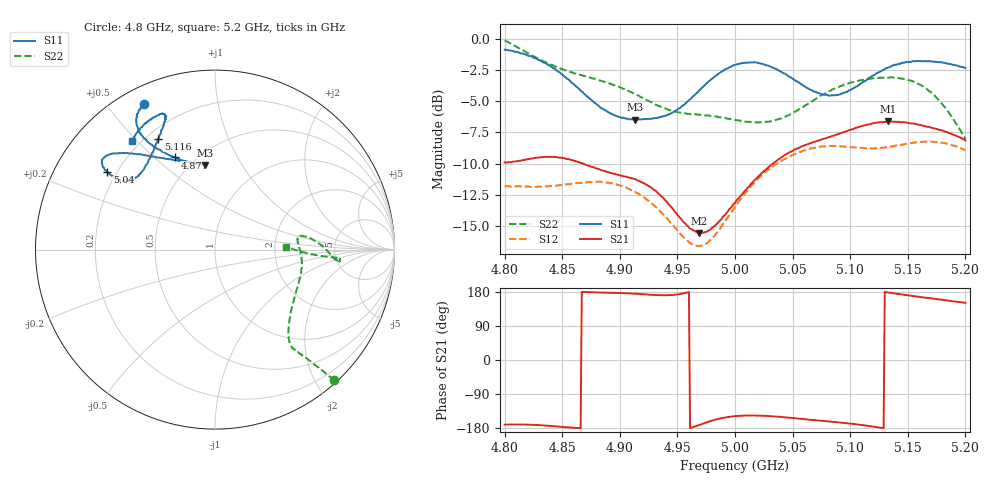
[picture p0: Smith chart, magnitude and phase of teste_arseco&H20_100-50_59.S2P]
! Network Analyzer HP8722D
! Hewlett-Packard
! Data name: Linha & Wilkinson
! Saver's name: Rodrigo Anjos
! Comments: Teste da utilização de aquisição
! continua pelo VNA HP8722D
! Time and date: 6/5/2025 13:03
!  Frequency  S11  S21  S12  S22
# HZ  S  MA R 50
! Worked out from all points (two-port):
!   401 points, 4.8 GHz to 5.2 GHz, reference 50 ohm
!   highest |S21| = -6.62 dB at 5.133 GHz (marker M1); lowest = -15.6 dB at 4.969 GHz (marker M2)
!   |S21| within 3 dB of the highest: 4.822 GHz to 4.853 GHz (31.39 MHz wide, 0.649 % of centre); 5.039 GHz to end of sweep
!   lowest |S11| = -6.5 dB at 4.913 GHz (marker M3), VSWR 2.81, Z = 28.9 + j35.2 ohm
!   |S11| at or under -10 dB: nowhere
!   |S22| runs from -8.0 to -0.1 dB; largest |S21 - S12| = 0.83
!   S11 on the Smith chart (normalised r, x): 4.8 GHz: 0.07, +0.63; 4.877 GHz: 0.39, +0.58; 5.04 GHz: 0.17, +0.31; 5.116 GHz: 0.24, +0.58; 5.2 GHz: 0.17, +0.48
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4.8e9  0.9038 115.8  0.3201 -170.5  0.2565 -86.0  0.984 -47.4
4.818e9  0.8639 120.1  0.3278 -170.4  0.2565 -82.0  0.8867 -48.5
4.837e9  0.79 122.8  0.3365 -173.7  0.2563 -75.9  0.7993 -49.8
4.867e9  0.6132 117.8  0.3177 179.7  0.2648 -67.3  0.7147 -51.5
4.877e9  0.5602 113.5  0.3056 178.6  0.2674 -66.1  0.6927 -51.8
4.897e9  0.4909 102.7  0.2862 176.8  0.2616 -66.3  0.6479 -50.5
4.913e9  0.4749 96.8  0.2741 174.8  0.2445 -67.9  0.6006 -47.0
4.934e9  0.4841 99.3  0.2388 171.1  0.2068 -69.4  0.538 -37.4
4.948e9  0.5139 107.7  0.2029 172.2  0.1752 -66.5  0.5113 -28.3
4.969e9  0.621 123.3  0.1663 -171.4  0.1479 -47.7  0.4979 -15.1
4.981e9  0.6974 130.0  0.1762 -159.1  0.1605 -33.9  0.4892 -8.8
5e9  0.7865 137.3  0.2204 -148.3  0.213 -21.4  0.4729 -0.2
5.018e9  0.8039 141.7  0.2742 -146.5  0.2691 -18.3  0.4624 5.8
5.04e9  0.7379 144.3  0.3345 -150.4  0.3238 -18.4  0.4797 9.2
5.067e9  0.6217 142.0  0.3849 -158.1  0.3651 -20.6  0.5623 4.7
5.089e9  0.5956 132.4  0.4145 -164.2  0.3716 -23.7  0.6385 -1.9
5.116e9  0.6945 117.1  0.4538 -174.2  0.3647 -26.8  0.6894 -5.2
5.133e9  0.7675 111.4  0.4667 178.1  0.3688 -28.5  0.698 -4.8
5.134e9  0.7671 111.3  0.4646 177.7  0.3685 -28.6  0.6998 -4.8
5.163e9  0.813 113.0  0.449 165.3  0.3866 -35.6  0.6451 -3.7
5.181e9  0.8024 119.4  0.4273 158.5  0.3827 -41.3  0.5405 -2.8
5.2e9  0.762 127.4  0.3916 150.9  0.358 -46.2  0.3962 2.4
